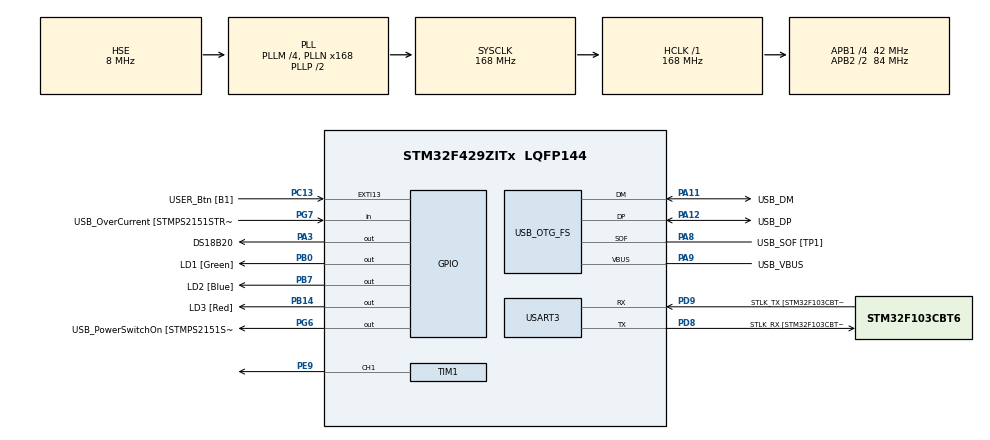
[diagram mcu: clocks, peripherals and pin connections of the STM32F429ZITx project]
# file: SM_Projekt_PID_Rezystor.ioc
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ARM.CMSIS.5.6.0.CMSISJjDSP=Source
ARM.CMSIS.5.6.0.CMSISJjDSP.apiComponent0=Device\:IRQ Controller
ARM.CMSIS.5.6.0.CMSISJjDSP.apiComponent1=Device\:OS Tick
ARM.CMSIS.5.6.0.CMSISJjDSP.apiComponent10=CMSIS Driver\:SAI
ARM.CMSIS.5.6.0.CMSISJjDSP.apiComponent11=CMSIS Driver\:I2C
ARM.CMSIS.5.6.0.CMSISJjDSP.apiComponent12=CMSIS Driver\:I2C
ARM.CMSIS.5.6.0.CMSISJjDSP.apiComponent13=CMSIS Driver\:CAN
ARM.CMSIS.5.6.0.CMSISJjDSP.apiComponent14=CMSIS Driver\:CAN
ARM.CMSIS.5.6.0.CMSISJjDSP.apiComponent15=CMSIS Driver\:Flash
ARM.CMSIS.5.6.0.CMSISJjDSP.apiComponent16=CMSIS Driver\:Flash
ARM.CMSIS.5.6.0.CMSISJjDSP.apiComponent17=CMSIS Driver\:MCI
ARM.CMSIS.5.6.0.CMSISJjDSP.apiComponent18=CMSIS Driver\:MCI
ARM.CMSIS.5.6.0.CMSISJjDSP.apiComponent19=CMSIS Driver\:NAND
ARM.CMSIS.5.6.0.CMSISJjDSP.apiComponent2=CMSIS\:RTOS
ARM.CMSIS.5.6.0.CMSISJjDSP.apiComponent20=CMSIS Driver\:NAND
ARM.CMSIS.5.6.0.CMSISJjDSP.apiComponent21=CMSIS Driver\:Ethernet
ARM.CMSIS.5.6.0.CMSISJjDSP.apiComponent22=CMSIS Driver\:Ethernet
ARM.CMSIS.5.6.0.CMSISJjDSP.apiComponent23=CMSIS Driver\:Ethernet
ARM.CMSIS.5.6.0.CMSISJjDSP.apiComponent24=CMSIS Driver\:Ethernet MAC
ARM.CMSIS.5.6.0.CMSISJjDSP.apiComponent25=CMSIS Driver\:Ethernet MAC
ARM.CMSIS.5.6.0.CMSISJjDSP.apiComponent26=CMSIS Driver\:Ethernet PHY
ARM.CMSIS.5.6.0.CMSISJjDSP.apiComponent27=CMSIS Driver\:Ethernet PHY
ARM.CMSIS.5.6.0.CMSISJjDSP.apiComponent28=CMSIS Driver\:USB Device
ARM.CMSIS.5.6.0.CMSISJjDSP.apiComponent29=CMSIS Driver\:USB Device
ARM.CMSIS.5.6.0.CMSISJjDSP.apiComponent3=CMSIS\:RTOS2
ARM.CMSIS.5.6.0.CMSISJjDSP.apiComponent30=CMSIS Driver\:USB Host
ARM.CMSIS.5.6.0.CMSISJjDSP.apiComponent31=CMSIS Driver\:USB Host
ARM.CMSIS.5.6.0.CMSISJjDSP.apiComponent32=CMSIS Driver\:WiFi
ARM.CMSIS.5.6.0.CMSISJjDSP.apiComponent33=CMSIS Driver\:WiFi
ARM.CMSIS.5.6.0.CMSISJjDSP.apiComponent4=CMSIS\:RTOS2
ARM.CMSIS.5.6.0.CMSISJjDSP.apiComponent5=CMSIS Driver\:USART
ARM.CMSIS.5.6.0.CMSISJjDSP.apiComponent6=CMSIS Driver\:USART
ARM.CMSIS.5.6.0.CMSISJjDSP.apiComponent7=CMSIS Driver\:SPI
ARM.CMSIS.5.6.0.CMSISJjDSP.apiComponent8=CMSIS Driver\:SPI
ARM.CMSIS.5.6.0.CMSISJjDSP.apiComponent9=CMSIS Driver\:SAI
ARM.CMSIS.5.6.0.CMSISJjDSP.apiDoc0=CMSIS/Core_A/Include/irq_ctrl.h
ARM.CMSIS.5.6.0.CMSISJjDSP.apiDoc1=CMSIS/RTOS2/Include/os_tick.h
ARM.CMSIS.5.6.0.CMSISJjDSP.apiDoc10=CMSIS/Driver/Include/Driver_SAI.h
ARM.CMSIS.5.6.0.CMSISJjDSP.apiDoc11=CMSIS/Documentation/Driver/html/group__i2c__interface__gr.html
ARM.CMSIS.5.6.0.CMSISJjDSP.apiDoc12=CMSIS/Driver/Include/Driver_I2C.h
ARM.CMSIS.5.6.0.CMSISJjDSP.apiDoc13=CMSIS/Documentation/Driver/html/group__can__interface__gr.html
ARM.CMSIS.5.6.0.CMSISJjDSP.apiDoc14=CMSIS/Driver/Include/Driver_CAN.h
ARM.CMSIS.5.6.0.CMSISJjDSP.apiDoc15=CMSIS/Documentation/Driver/html/group__flash__interface__gr.html
ARM.CMSIS.5.6.0.CMSISJjDSP.apiDoc16=CMSIS/Driver/Include/Driver_Flash.h
ARM.CMSIS.5.6.0.CMSISJjDSP.apiDoc17=CMSIS/Documentation/Driver/html/group__mci__interface__gr.html
ARM.CMSIS.5.6.0.CMSISJjDSP.apiDoc18=CMSIS/Driver/Include/Driver_MCI.h
ARM.CMSIS.5.6.0.CMSISJjDSP.apiDoc19=CMSIS/Documentation/Driver/html/group__nand__interface__gr.html
ARM.CMSIS.5.6.0.CMSISJjDSP.apiDoc2=CMSIS/Documentation/RTOS/html/index.html
ARM.CMSIS.5.6.0.CMSISJjDSP.apiDoc20=CMSIS/Driver/Include/Driver_NAND.h
ARM.CMSIS.5.6.0.CMSISJjDSP.apiDoc21=CMSIS/Documentation/Driver/html/group__eth__interface__gr.html
ARM.CMSIS.5.6.0.CMSISJjDSP.apiDoc22=CMSIS/Driver/Include/Driver_ETH_MAC.h
ARM.CMSIS.5.6.0.CMSISJjDSP.apiDoc23=CMSIS/Driver/Include/Driver_ETH_PHY.h
ARM.CMSIS.5.6.0.CMSISJjDSP.apiDoc24=CMSIS/Documentation/Driver/html/group__eth__mac__interface__gr.html
ARM.CMSIS.5.6.0.CMSISJjDSP.apiDoc25=CMSIS/Driver/Include/Driver_ETH_MAC.h
ARM.CMSIS.5.6.0.CMSISJjDSP.apiDoc26=CMSIS/Documentation/Driver/html/group__eth__phy__interface__gr.html
ARM.CMSIS.5.6.0.CMSISJjDSP.apiDoc27=CMSIS/Driver/Include/Driver_ETH_PHY.h
ARM.CMSIS.5.6.0.CMSISJjDSP.apiDoc28=CMSIS/Documentation/Driver/html/group__usbd__interface__gr.html
ARM.CMSIS.5.6.0.CMSISJjDSP.apiDoc29=CMSIS/Driver/Include/Driver_USBD.h
ARM.CMSIS.5.6.0.CMSISJjDSP.apiDoc3=CMSIS/Documentation/RTOS2/html/index.html
ARM.CMSIS.5.6.0.CMSISJjDSP.apiDoc30=CMSIS/Documentation/Driver/html/group__usbh__interface__gr.html
ARM.CMSIS.5.6.0.CMSISJjDSP.apiDoc31=CMSIS/Driver/Include/Driver_USBH.h
ARM.CMSIS.5.6.0.CMSISJjDSP.apiDoc32=CMSIS/Documentation/Driver/html/group__wifi__interface__gr.html
ARM.CMSIS.5.6.0.CMSISJjDSP.apiDoc33=CMSIS/Driver/Include/Driver_WiFi.h
ARM.CMSIS.5.6.0.CMSISJjDSP.apiDoc4=CMSIS/RTOS2/Include/cmsis_os2.h
ARM.CMSIS.5.6.0.CMSISJjDSP.apiDoc5=CMSIS/Documentation/Driver/html/group__usart__interface__gr.html
ARM.CMSIS.5.6.0.CMSISJjDSP.apiDoc6=CMSIS/Driver/Include/Driver_USART.h
ARM.CMSIS.5.6.0.CMSISJjDSP.apiDoc7=CMSIS/Documentation/Driver/html/group__spi__interface__gr.html
ARM.CMSIS.5.6.0.CMSISJjDSP.apiDoc8=CMSIS/Driver/Include/Driver_SPI.h
ARM.CMSIS.5.6.0.CMSISJjDSP.apiDoc9=CMSIS/Documentation/Driver/html/group__sai__interface__gr.html
ARM.CMSIS.5.6.0.CMSISJjDSP.cmp_version0=1.7.0
ARM.CMSIS.5.6.0.CMSISJjDSP.component0=CMSIS
ARM.CMSIS.5.6.0.CMSISJjDSP.componentDoc0=CMSIS/Documentation/DSP/html/index.html
ARM.CMSIS.5.6.0.CMSISJjDSP.description0=CMSIS-DSP Library for Cortex-M, SC000, and SC300
ARM.CMSIS.5.6.0.CMSISJjDSP.diagnostic0=This component requires one or more component from the same SW pack to operate correctly
ARM.CMSIS.5.6.0.CMSISJjDSP.group0=DSP
ARM.CMSIS.5.6.0.CMSISJjDSP.paramName0=CMSISJjDSP
ARM.CMSIS.5.6.0.CMSISJjDSP.sevirity0=minor
ARM.CMSIS.5.6.0.CMSISJjDSP.variant0=Source
ARM.CMSIS.5.6.0.CMSISJjDSP_apiSize=34
ARM.CMSIS.5.6.0.CMSISJjDSP_bundle=CMSIS
ARM.CMSIS.5.6.0.CMSISJjDSP_class=CMSIS
ARM.CMSIS.5.6.0.CMSISJjDSP_name=CMSIS
ARM.CMSIS.5.6.0.CMSISJjDSP_size=1
ARM.CMSIS.5.6.0.CMSISJjDSP_vendor=ARM
ARM.CMSIS.5.6.0.CMSISJjDSP_version=5.6.0
ARM.CMSIS.5.6.0_CMSISJjCORE_RteComponentsize=0
ARM.CMSIS.5.6.0_CMSISJjDSP_RteComponentsize=0
ARM.CMSIS.5.6.0_CMSISJjNNOoLib_RteComponentsize=0
ARM.CMSIS.5.6.0_CMSISJjRTOS2_RteComponentsize=0
ARM.CMSIS.5.6.0_CMSISJjRTOS_RteComponentsize=0
ARM.CMSIS.5.6.0_CMSISOoDriverJjCAN_RteComponentsize=0
ARM.CMSIS.5.6.0_CMSISOoDriverJjEthernetOoMAC_RteComponentsize=0
ARM.CMSIS.5.6.0_CMSISOoDriverJjEthernetOoPHY_RteComponentsize=0
ARM.CMSIS.5.6.0_CMSISOoDriverJjEthernet_RteComponentsize=0
ARM.CMSIS.5.6.0_CMSISOoDriverJjFlash_RteComponentsize=0
ARM.CMSIS.5.6.0_CMSISOoDriverJjI2C_RteComponentsize=0
ARM.CMSIS.5.6.0_CMSISOoDriverJjMCI_RteComponentsize=0
ARM.CMSIS.5.6.0_CMSISOoDriverJjNAND_RteComponentsize=0
ARM.CMSIS.5.6.0_CMSISOoDriverJjSAI_RteComponentsize=0
ARM.CMSIS.5.6.0_CMSISOoDriverJjSPI_RteComponentsize=0
ARM.CMSIS.5.6.0_CMSISOoDriverJjUSART_RteComponentsize=0
ARM.CMSIS.5.6.0_CMSISOoDriverJjUSBOoDevice_RteComponentsize=0
ARM.CMSIS.5.6.0_CMSISOoDriverJjUSBOoHost_RteComponentsize=0
ARM.CMSIS.5.6.0_CMSISOoDriverJjWiFi_RteComponentsize=0
ARM.CMSIS.5.6.0_DeviceJjIRQOoController_RteComponentsize=0
ARM.CMSIS.5.6.0_DeviceJjOSOoTick_RteComponentsize=0
ARM.CMSIS.5.6.0_DeviceJjStartup_RteComponentsize=0
ARM.CMSIS.5.6.0_description=CMSIS (Cortex Microcontroller Software Interface Standard)
Mcu.Family=STM32F4
Mcu.Name=STM32F429ZITx
Mcu.Package=LQFP144
NVIC.PriorityGroup=NVIC_PRIORITYGROUP_4
NVIC.TIM4_IRQn=true\:0\:0\:false\:false\:true\:true\:true
NVIC.USART3_IRQn=true\:0\:0\:false\:false\:true\:true\:true
PA1.GPIO_Label=RMII_REF_CLK [LAN8742A-CZ-TR_REFCLK0]
PA1.Signal=ETH_REF_CLK
PA10.GPIO_Label=USB_ID
PA10.Signal=USB_OTG_FS_ID
PA11.GPIO_Label=USB_DM
PA11.Mode=Device_Only
PA11.Signal=USB_OTG_FS_DM
PA12.GPIO_Label=USB_DP
PA12.Mode=Device_Only
PA12.Signal=USB_OTG_FS_DP
PA13.GPIO_Label=TMS
PA13.Mode=Serial_Wire
PA13.Signal=SYS_JTMS-SWDIO
PA14.GPIO_Label=TCK
PA14.Mode=Serial_Wire
PA14.Signal=SYS_JTCK-SWCLK
PA2.GPIO_Label=RMII_MDIO [LAN8742A-CZ-TR_MDIO]
PA2.Signal=ETH_MDIO
PA3.GPIO_Label=DS18B20
PA3.Signal=GPIO_Output
PA7.GPIO_Label=RMII_CRS_DV [LAN8742A-CZ-TR_CRS_DV]
PA7.Signal=ETH_CRS_DV
PA8.GPIO_Label=USB_SOF [TP1]
PA8.Mode=Activate_SOF_FS
PA8.Signal=USB_OTG_FS_SOF
PA9.GPIO_Label=USB_VBUS
PA9.Mode=Activate_VBUS
PA9.Signal=USB_OTG_FS_VBUS
PB0.GPIO_Label=LD1 [Green]
PB0.Signal=GPIO_Output
PB13.GPIO_Label=RMII_TXD1 [LAN8742A-CZ-TR_TXD1]
PB13.Signal=ETH_TXD1
PB14.GPIO_Label=LD3 [Red]
PB14.Signal=GPIO_Output
PB7.GPIO_Label=LD2 [Blue]
PB7.Signal=GPIO_Output
PC1.GPIO_Label=RMII_MDC [LAN8742A-CZ-TR_MDC]
PC1.Signal=ETH_MDC
PC13.GPIO_Label=USER_Btn [B1]
PC13.Signal=GPXTI13
PC14/OSC32_IN.Mode=LSE-External-Oscillator
PC14/OSC32_IN.Signal=RCC_OSC32_IN
PC15/OSC32_OUT.Mode=LSE-External-Oscillator
PC15/OSC32_OUT.Signal=RCC_OSC32_OUT
PC4.GPIO_Label=RMII_RXD0 [LAN8742A-CZ-TR_RXD0]
PC4.Signal=ETH_RXD0
PC5.GPIO_Label=RMII_RXD1 [LAN8742A-CZ-TR_RXD1]
PC5.Signal=ETH_RXD1
PD8.GPIO_Label=STLK_RX [STM32F103CBT6_PA3]
PD8.Mode=Asynchronous
PD8.Signal=USART3_TX
PD9.GPIO_Label=STLK_TX [STM32F103CBT6_PA2]
PD9.Mode=Asynchronous
PD9.Signal=USART3_RX
PE9.Signal=S_TIM1_CH1
PG11.GPIO_Label=RMII_TX_EN [LAN8742A-CZ-TR_TXEN]
PG11.Signal=ETH_TX_EN
PG13.GPIO_Label=RMII_TXD0 [LAN8742A-CZ-TR_TXD0]
PG13.Signal=ETH_TXD0
PG6.GPIO_Label=USB_PowerSwitchOn [STMPS2151STR_EN]
PG6.Signal=GPIO_Output
PG7.GPIO_Label=USB_OverCurrent [STMPS2151STR_FAULT]
PG7.Signal=GPIO_Input
PH0/OSC_IN.GPIO_Label=MCO [STM32F103CBT6_PA8]
PH0/OSC_IN.Mode=HSE-External-Clock-Source
PH0/OSC_IN.Signal=RCC_OSC_IN
PH1/OSC_OUT.Mode=HSE-External-Clock-Source
PH1/OSC_OUT.Signal=RCC_OSC_OUT
ProjectManager.HeapSize=0x200
ProjectManager.StackSize=0x400
ProjectManager.TargetToolchain=STM32CubeIDE
RCC.48MHZClocksFreq_Value=48000000
RCC.AHBFreq_Value=168000000
RCC.APB1CLKDivider=RCC_HCLK_DIV4
RCC.APB1Freq_Value=42000000
RCC.APB1TimFreq_Value=84000000
RCC.APB2CLKDivider=RCC_HCLK_DIV2
RCC.APB2Freq_Value=84000000
RCC.APB2TimCLKDivider=2
RCC.APB2TimFreq_Value=168000000
RCC.CortexFreq_Value=168000000
RCC.HCLKFreq_Value=168000000
RCC.HSE_VALUE=8000000
RCC.HSI_VALUE=16000000
RCC.PLLM=4
RCC.PLLMUL=RCC_PLL_MUL9
RCC.PLLN=168
RCC.PLLQ=7
RCC.PRESCALERUSB=RCC_USBCLKSOURCE_PLL_DIV1_5
RCC.SYSCLKFreq_VALUE=168000000
RCC.SYSCLKSource=RCC_SYSCLKSOURCE_PLLCLK
RCC.SYSCLKSourceVirtual=RCC_SYSCLKSOURCE_PLLCLK
RCC.USBFreq_Value=48000000
RCC.VCOOutputFreq_Value=336000000
SH.S_TIM1_CH1.0=TIM1_CH1,PWM Generation1 CH1
TIM1.Channel-PWM\ Generation1\ CH1=TIM_CHANNEL_1
TIM1.Period=999
TIM1.Prescaler=167
TIM10.Period=65000
TIM10.Prescaler=167
TIM4.Period=1679
TIM4.Prescaler=999
USART3.VirtualMode=VM_ASYNC
USB_OTG_FS.VirtualMode=Device_Only
VP_ARM.CMSIS_VS_CMSISJjCORE_5.3.0.Mode=CMSISJjCORE
VP_ARM.CMSIS_VS_CMSISJjDSP_1.7.0.Mode=CMSISJjDSP
VP_TIM10_VS_ClockSourceINT.Mode=Enable_Timer
VP_TIM1_VS_ClockSourceINT.Mode=Internal
VP_TIM4_VS_ClockSourceINT.Mode=Internal
board=NUCLEO-F429ZI

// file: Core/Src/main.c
/* USER CODE BEGIN Header */
/**
 ******************************************************************************
 * @file           : main.c
 * @brief          : Main program body
 ******************************************************************************
 * @attention
 *
 * <h2><center>&copy; Copyright (c) 2020 STMicroelectronics.
 * All rights reserved.</center></h2>
 *
 * This software component is licensed by ST under BSD 3-Clause license,
 * the "License"; You may not use this file except in compliance with the
 * License. You may obtain a copy of the License at:
 *                        opensource.org/licenses/BSD-3-Clause
 *
 ******************************************************************************
 */
/* USER CODE END Header */

#include "main.h"
#include "tim.h"
#include "usart.h"
#include "usb_otg.h"
#include "gpio.h"

/* USER CODE BEGIN Includes */
#include <stdio.h>
#include <string.h>
#include <math.h>

#include "onewire.h"
#include "ds18b20.h"

/* Include ARM math */
#include "arm_math.h"

/* USER CODE END Includes */

/* USER CODE BEGIN PD */

/* Choose PID parameters */
#define PID_PARAM_KP        100            /* Człon proporcjonalny - wzmocnienie */
#define PID_PARAM_KI        0.025        /* Człon całkujący - wzmocnienie*/
#define PID_PARAM_KD        20            /* Człon różniczkujący - wzmocnienie */

/* USER CODE END PD */

/* USER CODE BEGIN PV */

/* Timery programowe */
uint16_t Timer1, Timer2;
float temperature;
/* Wypełnieienie sygnału sterującego - PWM */
uint16_t PWM_Duty;

/* bufor danych do transmisji danych z komputerem - uart3 */
uint8_t string_data[50];

/* USER CODE END PV */

void SystemClock_Config(void);

/* USER CODE BEGIN 0 */

uint8_t USART_Rx_temp_data[4];
uint8_t USART_set_temerature;

void HAL_UART_RxCpltCallback(UART_HandleTypeDef *huart) {
	//HAL_UART_Receive_IT(&huart3, &received_data, 1); //ponowne wlaczenie nasluchiwania uart3

	//	 uint8_t Data[40]; // Tablica przechowujaca wysylana wiadomosc.
	//	 uint16_t size = 0; // Rozmiar wysylanej wiadomosci
	//
	//	 size = sprintf(Data, "Odebrana wiadomosc: %s\n\r",Received);
	//
	//	 HAL_UART_Transmit_IT(&huart1, Data, size); // Rozpoczecie nadawania danych z wykorzystaniem przerwan

	sscanf(USART_Rx_temp_data, "T=%u", &USART_set_temerature);

	HAL_UART_Receive_IT(&huart3, USART_Rx_temp_data, 4); // Ponowne włączenie nasłuchiwania
}

void HAL_TIM_PeriodElapsedCallback(TIM_HandleTypeDef *htim) {
	if (htim->Instance == TIM4) {	// timer 4 - 100Hz
		uint16_t n;

		/* Timery programowe - funkcje nieblokujące

		 Timer1
		n = Timer1;
		if (n)
			Timer1 = --n;

		 Timer2
		n = Timer2;
		if (n)
			Timer2 = --n;
	}
}

/* USER CODE END 0 */

int main(void)
{

  /* MCU Configuration--------------------------------------------------------*/

  /* Reset of all peripherals, Initializes the Flash interface and the Systick. */
  HAL_Init();

  /* Configure the system clock */
  SystemClock_Config();

  /* Initialize all configured peripherals */
  MX_GPIO_Init();
  MX_USART3_UART_Init();
  MX_USB_OTG_FS_PCD_Init();
  MX_TIM1_Init();
  MX_TIM10_Init();
  MX_TIM4_Init();
  /* USER CODE BEGIN 2 */

	/* PID error */
	float pid_error;
	/* Duty cycle for PWM */
	float duty = 0;
	/* ARM PID Instance, float_32 format */
	arm_pid_instance_f32 PID;

	/* Set PID parameters */
	/* Set this for your needs */
	PID.Kp = PID_PARAM_KP; /* Proporcional */
	PID.Ki = PID_PARAM_KI; /* Integral */
	PID.Kd = PID_PARAM_KD; /* Derivative */

	/* Initialize PID system, float32_t format */
//	arm_pid_init_f32(&PID, 1);

	//HAL_UART_Receive_IT(&huart3, USART_Rx_temp_data, 4);

	HAL_TIM_PWM_Start(&htim1, TIM_CHANNEL_1); //wlaczenie pwm - f = 1kHz (FCPU = 168MHz -> pres=999; autoreload=167
	TIM1->CCR1 = 0;  //poczatkowe wypelnienie PWM1 - dioda zielona BB

	HAL_TIM_Base_Start_IT(&htim4);	// start przerwan od timera 4 - 100Hz

	/* Inicjalizacja czujnika temperatury - ustawienie rozdzielczości na 12 bitów */
	DS18B20_Init(DS18B20_Resolution_12bits);

  /* USER CODE END 2 */

  /* Infinite loop */
  /* USER CODE BEGIN WHILE */
	while (1) {

		/* Komenda startu konwersji oraz odczytu z wszystkich czujników 18B20 na magistrali 1-Wire - co 30ms*/

		if (!Timer2) {
			/*		static temp = 0;

			 if(!temp)  DS18B20_ReadAll();
			 else DS18B20_StartAll();

			 if(++temp >= 2) temp = 0;
			 Timer2 = 3;*/

			DS18B20_ReadAll();
			DS18B20_StartAll();

			/* Odczyt temeratury z czujnika */
			for (uint8_t i = 0; i < DS18B20_Quantity(); i++) {
				if (DS18B20_GetTemperature(i, &temperature)) {
					/* Tu wpisz kod - gdy zostanie odczytana wartość temperatury z i-tego czujnika */
					temperature = temperature;
				}
			}

			Timer2 = 10;

		}

		/* Calculate PID here, argument is error */
		/* Output data will be returned, we will use it as duty cycle parameter */
		duty = arm_pid_f32(&PID, pid_error);

		/* Check overflow, duty cycle in percent */
		if (duty > 100) {
			duty = 100;
		} else if (duty < 0) {
			duty = 0;
		}

		/* Wysyłnie danych na UART co 0.5s (500ms) */
		if (!Timer1) {
			HAL_UART_Transmit_IT(&huart3, string_data,
					sprintf(string_data,
							"TEMPERATURA AKTUALNA = %f" "\n\r" "DUTY = %d" "\n\r\n\r",
							temperature, PWM_Duty));

			Timer1 = 50;
		}

		HAL_Delay(1);

    /* USER CODE END WHILE */

	}
}

void SystemClock_Config(void)
{
  RCC_OscInitTypeDef RCC_OscInitStruct = {0};
  RCC_ClkInitTypeDef RCC_ClkInitStruct = {0};

  /** Configure the main internal regulator output voltage
  */
  __HAL_RCC_PWR_CLK_ENABLE();
  __HAL_PWR_VOLTAGESCALING_CONFIG(PWR_REGULATOR_VOLTAGE_SCALE1);
  /** Initializes the CPU, AHB and APB busses clocks
  */
  RCC_OscInitStruct.OscillatorType = RCC_OSCILLATORTYPE_HSE;
  RCC_OscInitStruct.HSEState = RCC_HSE_BYPASS;
  RCC_OscInitStruct.PLL.PLLState = RCC_PLL_ON;
  RCC_OscInitStruct.PLL.PLLSource = RCC_PLLSOURCE_HSE;
  RCC_OscInitStruct.PLL.PLLM = 4;
  RCC_OscInitStruct.PLL.PLLN = 168;
  RCC_OscInitStruct.PLL.PLLP = RCC_PLLP_DIV2;
  RCC_OscInitStruct.PLL.PLLQ = 7;
  if (HAL_RCC_OscConfig(&RCC_OscInitStruct) != HAL_OK)
  {
    Error_Handler();
  }
  /** Initializes the CPU, AHB and APB busses clocks
  */
  RCC_ClkInitStruct.ClockType = RCC_CLOCKTYPE_HCLK|RCC_CLOCKTYPE_SYSCLK
                              |RCC_CLOCKTYPE_PCLK1|RCC_CLOCKTYPE_PCLK2;
  RCC_ClkInitStruct.SYSCLKSource = RCC_SYSCLKSOURCE_PLLCLK;
  RCC_ClkInitStruct.AHBCLKDivider = RCC_SYSCLK_DIV1;
  RCC_ClkInitStruct.APB1CLKDivider = RCC_HCLK_DIV4;
  RCC_ClkInitStruct.APB2CLKDivider = RCC_HCLK_DIV2;

  if (HAL_RCC_ClockConfig(&RCC_ClkInitStruct, FLASH_LATENCY_5) != HAL_OK)
  {
    Error_Handler();
  }
}

void Error_Handler(void)
{
}

/************************ (C) COPYRIGHT STMicroelectronics *****END OF FILE****/
